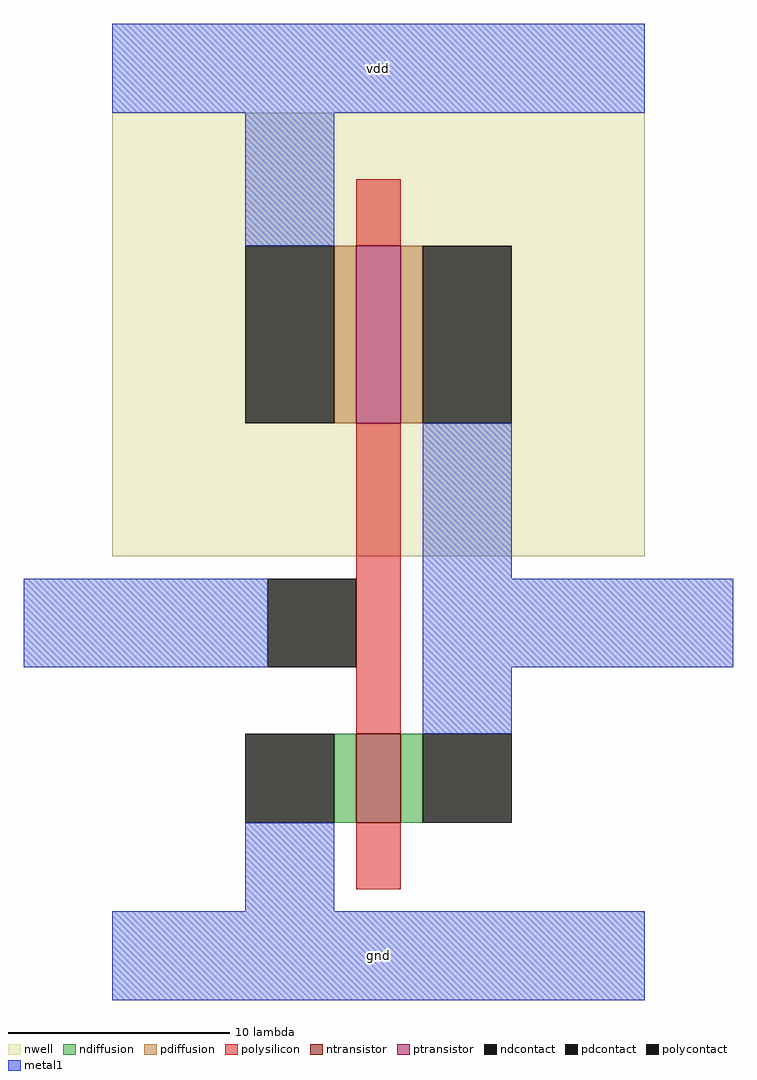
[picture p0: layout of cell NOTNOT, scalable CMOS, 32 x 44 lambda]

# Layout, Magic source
magic
tech scmos
<< nwell >>
rect 0 0 24 20
<< ntransistor >>
rect 11 -12 13 -8
<< ptransistor >>
rect 11 6 13 14
<< ndiffusion >>
rect 10 -12 11 -8
rect 13 -12 14 -8
<< pdiffusion >>
rect 10 6 11 14
rect 13 6 14 14
<< ndcontact >>
rect 6 -12 10 -8
rect 14 -12 18 -8
<< pdcontact >>
rect 6 6 10 14
rect 14 6 18 14
<< polysilicon >>
rect 11 14 13 17
rect 11 -8 13 6
rect 11 -15 13 -12
<< polycontact >>
rect 7 -5 11 -1
<< metal1 >>
rect 0 20 24 24
rect 6 14 10 20
rect 14 -1 18 6
rect -4 -5 7 -1
rect 14 -5 28 -1
rect 14 -8 18 -5
rect 6 -16 10 -12
rect 0 -20 24 -16
<< labels >>
rlabel metal1 0 20 24 24 5 vdd
rlabel metal1 0 -20 24 -16 1 gnd
<< end >>
